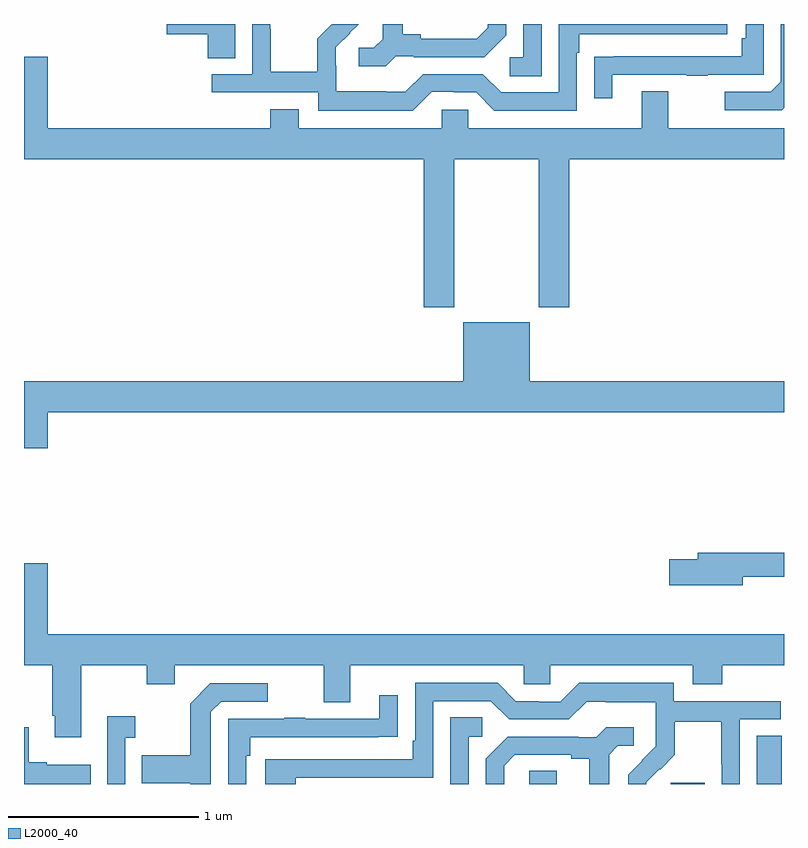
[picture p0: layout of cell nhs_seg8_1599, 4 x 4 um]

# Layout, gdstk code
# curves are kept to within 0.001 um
import gdstk
lib = gdstk.Library(unit=1e-6, precision=1e-09)
def R(c, l, rs):  # rectangles x0, y0, x1, y1
    for r in rs: c.add(gdstk.rectangle(r[:2], r[2:], *l))
def P(c, l, *ps):  # polygons
    for p in ps: c.add(gdstk.Polygon(p, *l))
L2000_40 = (2000, 40)

nhs_seg8_1599 = lib.new_cell('nhs_seg8_1599')
R(nhs_seg8_1599, L2000_40, [(215.658,1091.9,215.803,1091.969), (216.404,1091.9,216.583,1091.907), (216.857,1091.9,216.988,1092.155)])
P(nhs_seg8_1599, L2000_40, [(214.956,1095.729),(215.05,1095.729),(215.05,1095.726),(215.422,1095.726),(215.538,1095.842),(215.538,1095.9),(215.441,1095.9),(215.441,1095.879),(215.384,1095.822),(215.089,1095.822),(215.089,1095.845),(214.993,1095.845),(214.993,1095.9),(214.889,1095.9),(214.889,1095.821),(214.842,1095.774),(214.761,1095.774),(214.761,1095.677),(214.904,1095.677)],
  [(215.145,1095.543),(215.261,1095.543),(215.261,1095.54),(215.379,1095.54),(215.475,1095.444),(215.91,1095.444),(215.91,1095.749),(215.923,1095.749),(215.923,1095.846),(216.7,1095.846),(216.7,1095.9),(215.814,1095.9),(215.814,1095.54),(215.511,1095.54),(215.415,1095.636),(215.1,1095.636),(215.007,1095.543),(214.907,1095.543),(214.907,1095.547),(214.644,1095.547),(214.644,1095.681),(214.642,1095.681),(214.642,1095.778),(214.762,1095.9),(214.626,1095.9),(214.623,1095.897),(214.62,1095.9),(214.543,1095.823),(214.543,1095.649),(214.299,1095.649),(214.299,1095.872),(214.296,1095.872),(214.296,1095.9),(214.2,1095.9),(214.2,1095.636),(213.987,1095.636),(213.987,1095.54),(214.548,1095.54),(214.548,1095.443),(215.045,1095.443)],
  [(217,1095.46),(217,1095.9),(216.984,1095.9),(216.984,1095.597),(216.93,1095.543),(216.687,1095.543),(216.687,1095.447),(216.987,1095.447)],
  [(216.097,1095.633),(216.487,1095.633),(216.487,1095.628),(216.599,1095.628),(216.599,1095.633),(216.894,1095.633),(216.894,1095.9),(216.798,1095.9),(216.798,1095.826),(216.778,1095.826),(216.778,1095.729),(216.103,1095.729),(216.103,1095.728),(216.001,1095.728),(216.001,1095.51),(216.097,1095.51)],
  [(214.111,1095.9),(213.75,1095.9),(213.75,1095.845),(213.968,1095.845),(213.968,1095.721),(214.111,1095.721)],
  [(215.724,1095.9),(215.628,1095.9),(215.628,1095.726),(215.556,1095.726),(215.556,1095.625),(215.724,1095.625)],
  [(215.265,1095.188),(215.71,1095.188),(215.71,1094.409),(215.87,1094.409),(215.87,1095.188),(217,1095.188),(217,1095.352),(216.391,1095.352),(216.391,1095.547),(216.251,1095.547),(216.251,1095.352),(215.337,1095.352),(215.337,1095.45),(215.199,1095.45),(215.199,1095.352),(214.447,1095.352),(214.447,1095.451),(214.295,1095.451),(214.295,1095.352),(213.124,1095.352),(213.124,1095.727),(213,1095.727),(213,1095.188),(215.105,1095.188),(215.105,1094.409),(215.265,1094.409)],
  [(213.124,1093.856),(217,1093.856),(217,1094.02),(215.662,1094.02),(215.662,1094.329),(215.312,1094.329),(215.312,1094.02),(213,1094.02),(213,1093.668),(213.124,1093.668)],
  [(216.784,1092.99),(217,1092.99),(217,1093.118),(216.545,1093.118),(216.545,1093.082),(216.396,1093.082),(216.396,1092.947),(216.784,1092.947)],
  [(213.124,1093.063),(213,1093.063),(213,1092.524),(213.149,1092.524),(213.149,1092.259),(213.161,1092.259),(213.161,1092.147),(213.301,1092.147),(213.301,1092.524),(213.646,1092.524),(213.646,1092.425),(213.793,1092.425),(213.793,1092.524),(214.577,1092.524),(214.577,1092.33),(214.717,1092.33),(214.717,1092.524),(215.631,1092.524),(215.631,1092.426),(215.769,1092.426),(215.769,1092.524),(216.521,1092.524),(216.521,1092.425),(216.674,1092.425),(216.674,1092.524),(217,1092.524),(217,1092.688),(213.124,1092.688)],
  [(214.43,1091.934),(215.154,1091.934),(215.154,1092.336),(215.457,1092.336),(215.553,1092.24),(215.868,1092.24),(215.961,1092.333),(216.061,1092.333),(216.061,1092.329),(216.324,1092.329),(216.324,1092.195),(216.326,1092.195),(216.326,1092.098),(216.18,1091.95),(216.18,1091.9),(216.275,1091.9),(216.275,1091.909),(216.345,1091.979),(216.348,1091.976),(216.425,1092.053),(216.425,1092.228),(216.67,1092.228),(216.67,1092.004),(216.672,1092.004),(216.672,1091.9),(216.768,1091.9),(216.768,1092.24),(216.982,1092.24),(216.982,1092.336),(216.42,1092.336),(216.42,1092.433),(215.923,1092.433),(215.823,1092.333),(215.708,1092.333),(215.708,1092.336),(215.589,1092.336),(215.493,1092.432),(215.058,1092.432),(215.058,1092.127),(215.045,1092.127),(215.045,1092.03),(214.269,1092.03),(214.269,1091.9),(214.43,1091.9)],
  [(213.984,1092.279),(214.038,1092.333),(214.282,1092.333),(214.282,1092.429),(213.981,1092.429),(213.876,1092.323),(213.876,1092.051),(213.619,1092.051),(213.619,1091.903),(213.876,1091.903),(213.876,1091.9),(213.984,1091.9)],
  [(214.17,1092.05),(214.19,1092.05),(214.19,1092.147),(214.865,1092.147),(214.865,1092.148),(214.967,1092.148),(214.967,1092.367),(214.871,1092.367),(214.871,1092.243),(214.481,1092.243),(214.481,1092.248),(214.369,1092.248),(214.369,1092.243),(214.074,1092.243),(214.074,1091.9),(214.17,1091.9)],
  [(213.534,1092.143),(213.586,1092.143),(213.586,1092.256),(213.438,1092.256),(213.438,1091.9),(213.534,1091.9)],
  [(215.34,1092.15),(215.413,1092.15),(215.413,1092.251),(215.244,1092.251),(215.244,1091.9),(215.34,1091.9)],
  [(213.352,1092.001),(213.121,1092.001),(213.121,1092.014),(213.025,1092.014),(213.025,1092.199),(213,1092.199),(213,1091.9),(213.352,1091.9)],
  [(215.527,1091.997),(215.584,1092.054),(215.879,1092.054),(215.879,1092.032),(215.975,1092.032),(215.975,1091.9),(216.079,1091.9),(216.079,1092.055),(216.126,1092.102),(216.208,1092.102),(216.208,1092.199),(216.064,1092.199),(216.012,1092.147),(215.918,1092.147),(215.918,1092.15),(215.546,1092.15),(215.43,1092.034),(215.43,1091.9),(215.527,1091.9)])

lib.write_gds('nhs_seg8_1599.gds')
